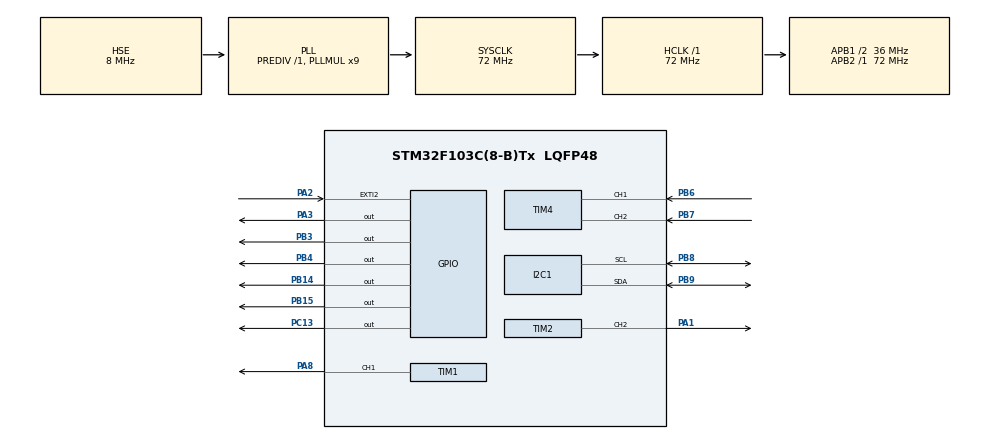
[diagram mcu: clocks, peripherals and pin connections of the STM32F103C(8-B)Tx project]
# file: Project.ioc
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Mcu.Family=STM32F1
Mcu.Name=STM32F103C(8-B)Tx
Mcu.Package=LQFP48
NVIC.EXTI2_IRQn=true\:0\:0\:false\:false\:true\:true\:true\:true
NVIC.PriorityGroup=NVIC_PRIORITYGROUP_4
PA1.Signal=S_TIM2_CH2
PA13.Mode=Serial_Wire
PA13.Signal=SYS_JTMS-SWDIO
PA14.Mode=Serial_Wire
PA14.Signal=SYS_JTCK-SWCLK
PA2.GPIO_ModeDefaultEXTI=GPIO_MODE_IT_RISING_FALLING
PA2.GPIO_PuPd=GPIO_NOPULL
PA2.Signal=GPXTI2
PA3.GPIO_Speed=GPIO_SPEED_FREQ_HIGH
PA3.Signal=GPIO_Output
PA8.Signal=S_TIM1_CH1
PB14.Signal=GPIO_Output
PB15.Signal=GPIO_Output
PB3.Signal=GPIO_Output
PB4.Signal=GPIO_Output
PB6.Signal=S_TIM4_CH1
PB7.Signal=S_TIM4_CH2
PB8.Mode=I2C
PB8.Signal=I2C1_SCL
PB9.Mode=I2C
PB9.Signal=I2C1_SDA
PC13-TAMPER-RTC.GPIO_Speed=GPIO_SPEED_FREQ_HIGH
PC13-TAMPER-RTC.PinState=GPIO_PIN_RESET
PC13-TAMPER-RTC.Signal=GPIO_Output
PC14-OSC32_IN.Mode=LSE-External-Oscillator
PC14-OSC32_IN.Signal=RCC_OSC32_IN
PC15-OSC32_OUT.Mode=LSE-External-Oscillator
PC15-OSC32_OUT.Signal=RCC_OSC32_OUT
PD0-OSC_IN.Mode=HSE-External-Oscillator
PD0-OSC_IN.Signal=RCC_OSC_IN
PD1-OSC_OUT.Mode=HSE-External-Oscillator
PD1-OSC_OUT.Signal=RCC_OSC_OUT
ProjectManager.HeapSize=0x200
ProjectManager.StackSize=0x400
ProjectManager.TargetToolchain=MDK-ARM V5.32
RCC.AHBFreq_Value=72000000
RCC.APB1CLKDivider=RCC_HCLK_DIV2
RCC.APB1Freq_Value=36000000
RCC.APB1TimFreq_Value=72000000
RCC.APB2Freq_Value=72000000
RCC.APB2TimFreq_Value=72000000
RCC.HCLKFreq_Value=72000000
RCC.PLLMUL=RCC_PLL_MUL9
RCC.PLLSourceVirtual=RCC_PLLSOURCE_HSE
RCC.SYSCLKFreq_VALUE=72000000
RCC.SYSCLKSource=RCC_SYSCLKSOURCE_PLLCLK
RCC.USBFreq_Value=72000000
SH.S_TIM1_CH1.0=TIM1_CH1,PWM Generation1 CH1
SH.S_TIM2_CH2.0=TIM2_CH2,PWM Generation2 CH2
SH.S_TIM4_CH1.0=TIM4_CH1,Encoder_Interface
SH.S_TIM4_CH2.0=TIM4_CH2,Encoder_Interface
TIM1.Channel-PWM\ Generation1\ CH1=TIM_CHANNEL_1
TIM1.Period=7199
TIM1.Pulse-PWM\ Generation1\ CH1=7200
TIM2.Channel-PWM\ Generation2\ CH2=TIM_CHANNEL_2
TIM2.Period=19999
TIM2.Prescaler=71
TIM3.Prescaler=71
TIM4.EncoderMode=TIM_ENCODERMODE_TI12
VP_TIM2_VS_ClockSourceINT.Mode=Internal
VP_TIM3_VS_ClockSourceINT.Mode=Internal
board=custom

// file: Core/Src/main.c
/* USER CODE BEGIN Header */
/**
  ******************************************************************************
  * @file           : main.c
  * @brief          : Main program body
  ******************************************************************************
  * @attention
  *
  * Copyright (c) 2026 STMicroelectronics.
  * All rights reserved.
  *
  * This software is licensed under terms that can be found in the LICENSE file
  * in the root directory of this software component.
  * If no LICENSE file comes with this software, it is provided AS-IS.
  *
  ******************************************************************************
  */
/* USER CODE END Header */
#include "main.h"
#include "i2c.h"
#include "tim.h"
#include "gpio.h"

/* USER CODE BEGIN Includes */
#include "oled.h"
#include "sr04.h"
#include "stdio.h"
#include "IIC.h"
#include "inv_mpu.h"
#include "inv_mpu_dmp_motion_driver.h"
#include "mpu6050.h"
#include "servo.h"
#include "motor.h"
#include "encoder.h"
/* USER CODE END Includes */

/* USER CODE BEGIN PV */
extern float distance;
uint8_t display_buf[20];
float pitch,roll,yaw;
/* USER CODE END PV */

void SystemClock_Config(void);

int main(void)
{

  /* MCU Configuration--------------------------------------------------------*/

  /* Reset of all peripherals, Initializes the Flash interface and the Systick. */
  HAL_Init();

  /* Configure the system clock */
  SystemClock_Config();

  /* Initialize all configured peripherals */
  MX_GPIO_Init();
  MX_I2C1_Init();
  MX_TIM3_Init();
  MX_TIM2_Init();
  MX_TIM1_Init();
  MX_TIM4_Init();
  /* USER CODE BEGIN 2 */
	Motor_Init();
//	Servo_Init();
	OLED_Init();
	OLED_Clear();

//	MPU_Init();
//	mpu_dmp_init();
//
//	OLED_ShowString(0,0,"Hello World",16);
//	OLED_Clear();
  /* USER CODE END 2 */

  /* Infinite loop */
  while (1)
  {

    /* USER CODE BEGIN 3 */

//			Motor_SetSpeed(20);
//			HAL_Delay(2000);

//			Motor_SetSpeed(0);
//			HAL_Delay(500);

//			Motor_SetSpeed(-80);
//			HAL_Delay(2000);

//			Motor_SetSpeed(0);
//			HAL_Delay(500);

//			Servo_SetAngle(0);
//			HAL_Delay(1000);
//			Servo_SetAngle(90);
//			HAL_Delay(1000);
//			Servo_SetAngle(180);
//			HAL_Delay(1000);
//		HAL_Delay(10);
//		mpu_dmp_get_data(&pitch,&roll,&yaw);
//		sprintf((char*)display_buf, "pitch:%.2f", pitch);
//		OLED_ShowString (0,2,display_buf, 16) ;
//		sprintf((char*)display_buf, "roll:%.2f", roll);
//		OLED_ShowString (0,4,display_buf, 16) ;
//		sprintf((char*)display_buf, "yaw:%.2f", yaw);
//		OLED_ShowString (0,6,display_buf, 16) ;
////		GET_Distance ();
////		HAL_Delay (50);
//		sprintf((char*)display_buf, "distance:%.2f", distance);
//		OLED_ShowString (0,0,display_buf, 16) ;
  }
  /* USER CODE END 3 */
}

void SystemClock_Config(void)
{
  RCC_OscInitTypeDef RCC_OscInitStruct = {0};
  RCC_ClkInitTypeDef RCC_ClkInitStruct = {0};

  /** Initializes the RCC Oscillators according to the specified parameters
  * in the RCC_OscInitTypeDef structure.
  */
  RCC_OscInitStruct.OscillatorType = RCC_OSCILLATORTYPE_HSE;
  RCC_OscInitStruct.HSEState = RCC_HSE_ON;
  RCC_OscInitStruct.HSEPredivValue = RCC_HSE_PREDIV_DIV1;
  RCC_OscInitStruct.HSIState = RCC_HSI_ON;
  RCC_OscInitStruct.PLL.PLLState = RCC_PLL_ON;
  RCC_OscInitStruct.PLL.PLLSource = RCC_PLLSOURCE_HSE;
  RCC_OscInitStruct.PLL.PLLMUL = RCC_PLL_MUL9;
  if (HAL_RCC_OscConfig(&RCC_OscInitStruct) != HAL_OK)
  {
    Error_Handler();
  }

  /** Initializes the CPU, AHB and APB buses clocks
  */
  RCC_ClkInitStruct.ClockType = RCC_CLOCKTYPE_HCLK|RCC_CLOCKTYPE_SYSCLK
                              |RCC_CLOCKTYPE_PCLK1|RCC_CLOCKTYPE_PCLK2;
  RCC_ClkInitStruct.SYSCLKSource = RCC_SYSCLKSOURCE_PLLCLK;
  RCC_ClkInitStruct.AHBCLKDivider = RCC_SYSCLK_DIV1;
  RCC_ClkInitStruct.APB1CLKDivider = RCC_HCLK_DIV2;
  RCC_ClkInitStruct.APB2CLKDivider = RCC_HCLK_DIV1;

  if (HAL_RCC_ClockConfig(&RCC_ClkInitStruct, FLASH_LATENCY_2) != HAL_OK)
  {
    Error_Handler();
  }
}

void Error_Handler(void)
{
  __disable_irq();
  while (1)
  {
  }
}
